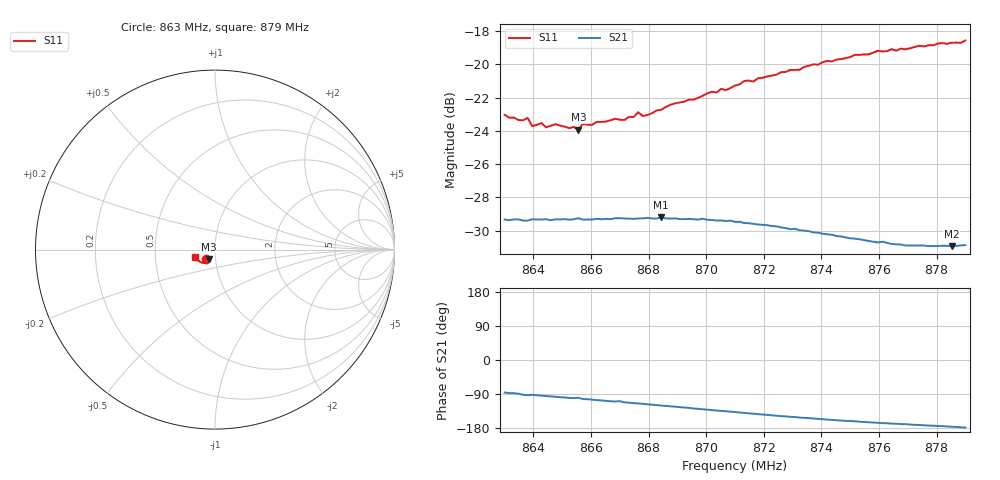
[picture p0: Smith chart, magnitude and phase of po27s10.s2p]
# HZ S RI R 50
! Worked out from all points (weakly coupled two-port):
!   101 points, 863 MHz to 879 MHz, reference 50 ohm
!   highest |S21| = -29.20 dB at 868.44 MHz (marker M1); lowest = -30.9 dB at 878.52 MHz (marker M2)
!   lowest |S11| = -23.9 dB at 865.56 MHz (marker M3), VSWR 1.14, Z = 46.4 - j5 ohm
!   |S11| at or under -10 dB: start of sweep to end of sweep
!   S12 and S22 are empty: the file has one direction only
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8.63e8  -0.0478 -0.0519  0.0024 -0.0341  0 0  0 0
8.6348e8  -0.0437 -0.0522  0.000663 -0.0342  0 0  0 0
8.638e8  -0.0441 -0.0531  -0.00177 -0.0339  0 0  0 0
8.6396e8  -0.0407 -0.0509  -0.00109 -0.0342  0 0  0 0
8.6428e8  -0.0399 -0.0534  -0.00246 -0.0341  0 0  0 0
8.6444e8  -0.0385 -0.052  -0.00313 -0.0341  0 0  0 0
8.6476e8  -0.0388 -0.0536  -0.00417 -0.034  0 0  0 0
8.6556e8  -0.0342 -0.0536  -0.00571 -0.034  0 0  0 0
8.6572e8  -0.0354 -0.056  -0.00775 -0.0333  0 0  0 0
8.6716e8  -0.0344 -0.0587  -0.0127 -0.032  0 0  0 0
8.6748e8  -0.0334 -0.0609  -0.0139 -0.0314  0 0  0 0
8.6764e8  -0.0357 -0.0622  -0.0144 -0.0313  0 0  0 0
8.678e8  -0.0348 -0.0607  -0.0149 -0.0311  0 0  0 0
8.6844e8  -0.0356 -0.0638  -0.0174 -0.0299  0 0  0 0
8.6876e8  -0.0361 -0.0665  -0.0184 -0.0291  0 0  0 0
8.71e8  -0.0469 -0.0725  -0.0247 -0.0229  0 0  0 0
8.7132e8  -0.0496 -0.0741  -0.0254 -0.0216  0 0  0 0
8.7164e8  -0.0495 -0.0737  -0.026 -0.0206  0 0  0 0
8.7372e8  -0.0663 -0.0749  -0.0282 -0.0135  0 0  0 0
8.7644e8  -0.0912 -0.0634  -0.0282 -0.00602  0 0  0 0
8.7852e8  -0.1068 -0.0455  -0.0284 -0.00196  0 0  0 0
8.79e8  -0.1109 -0.0401  -0.0286 -0.000862  0 0  0 0
